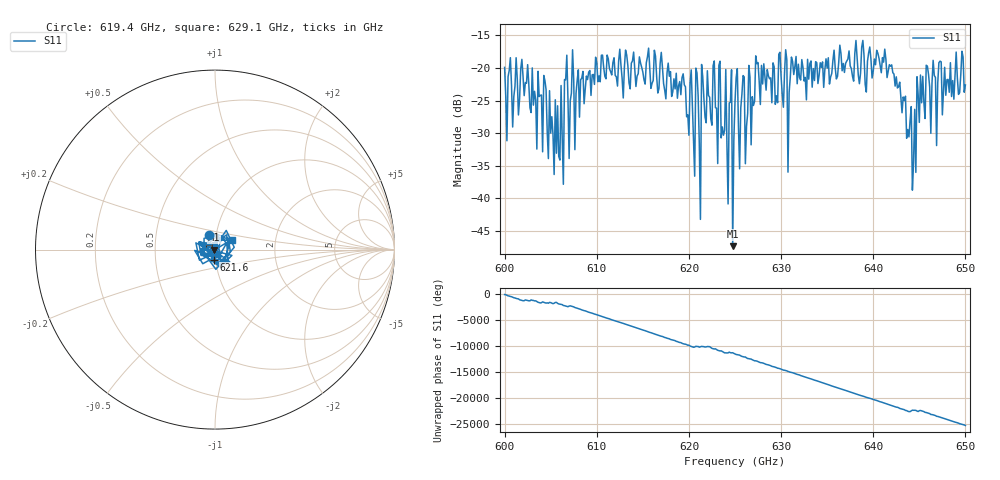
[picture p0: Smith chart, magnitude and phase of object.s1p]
!Created with skrf (http://scikit-rf.org).
# GHz S MA R 50.0
!freq magS11 angS11
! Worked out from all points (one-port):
!   401 points, 600 GHz to 650 GHz, reference 50 ohm
!   lowest |S11| = -47.3 dB at 624.8 GHz (marker M1), VSWR 1.01, Z = 49.6 + j0.00705 ohm
!   |S11| at or under -10 dB: start of sweep to end of sweep
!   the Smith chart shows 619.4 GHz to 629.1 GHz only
!   S11 on the Smith chart (normalised r, x): 619.4 GHz: 0.92, +0.16; 621.6 GHz: 0.98, -0.11; 629.1 GHz: 1.20, +0.13
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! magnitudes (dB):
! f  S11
! 600 GHz  -19.9
! 602 GHz  -21.3
! 604.2 GHz  -21.1
! 605.4 GHz  -36.3
! 606.2 GHz  -30.7
! 606.8 GHz  -18.0
! 612.5 GHz  -17.1
! 618.8 GHz  -24.6
! 619.4 GHz  -20.9
! 621 GHz  -24.3
! 621.6 GHz  -24.7
! 623.5 GHz  -30.7
! 624.5 GHz  -25.3
! 624.8 GHz  -47.3
! 625 GHz  -25.2
! 625.1 GHz  -21.5
! 626.9 GHz  -24.4
! 627.4 GHz  -19.3
! 629.1 GHz  -19.2
! 631 GHz  -21.4
! 631.2 GHz  -19.0
! 637.5 GHz  -19.7
! 641.2 GHz  -17.1
! 643.8 GHz  -29.4
! 644.4 GHz  -34.6
! 645 GHz  -28.4
! 645.9 GHz  -19.7
! 650 GHz  -22.6
